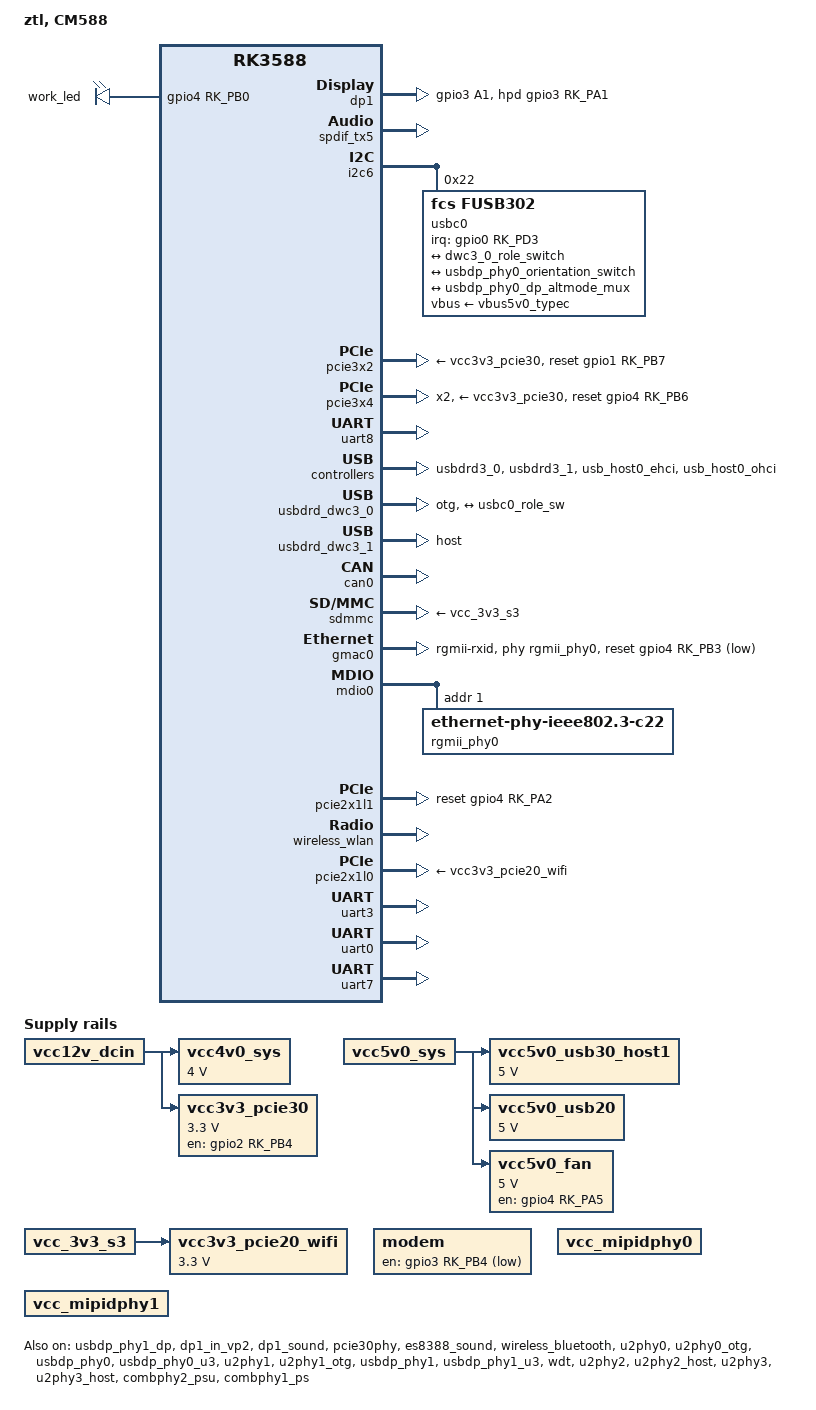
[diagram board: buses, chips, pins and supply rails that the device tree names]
// SPDX-License-Identifier: (GPL-2.0+ OR MIT)
/*
 * Copyright (c) 2023 Rockchip Electronics Co., Ltd.
 *
 */

/dts-v1/;

#include "rk3588-evb7-v11.dtsi"
//#include "rk3588-evb7-v11-imx415.dtsi"
#include "rk3588-linux.dtsi"

#define		ZTL_BOARD_RK3588_CM

/ {
	model = "ztl, CM588";
	compatible = "rockchip,rk3588-evb7-v11", "rockchip,rk3588";

	/*
	 * Serial consoles (5.10 variant).
	 *
	 * rk3588-linux.dtsi sets only "console=ttyFIQ0" (UART2 fiq-debugger,
	 * 1500000 8N1). This board does NOT wire UART2 out - the only reachable
	 * debug port is UART3/TTL (uart3m1: TX GPIO3_B5 / RX GPIO3_B6).
	 *
	 * Order matters: /dev/console follows the LAST console= argument, so
	 * ttyS3 is listed last to make it /dev/console (systemd's getty
	 * generator then spawns a shell on it). earlycon points at uart3's
	 * register base 0xfeb60000, NOT 0xfeb50000 (= uart2).
	 *
	 * IMPORTANT: this chosen/bootargs is only a fallback. Rockchip u-boot
	 * builds its own env "bootargs" (androidboot.fwver=... etc.) in
	 * board_fdt_chosen_bootargs(), and fdt_chosen() REPLACES this property
	 * wholesale - dropping every console= so the kernel gets no console at
	 * all. u-boot is patched to append the console= list; keep both in sync.
	 *
	 * NOTE: &gmac1 must stay disabled - gmac1_tx_bus2/gmac1_clkinout mux
	 * GPIO3_B5/GPIO3_B6, i.e. exactly the uart3 pins, and enabling gmac1
	 * makes ttyS3 completely silent.
	 */
	chosen {
		bootargs = "earlycon=uart8250,mmio32,0xfeb60000 console=ttyFIQ0 console=ttyS3,115200 irqchip.gicv3_pseudo_nmi=0 root=PARTUUID=614e0000-0000 rw rootwait rcupdate.rcu_expedited=1 rcu_nocbs=all";
	};

	vcc4v0_sys: vcc4v0-sys {
		compatible = "regulator-fixed";
		regulator-name = "vcc4v0_sys";
		regulator-always-on;
		regulator-boot-on;
		regulator-min-microvolt = <4000000>;
		regulator-max-microvolt = <4000000>;
		vin-supply = <&vcc12v_dcin>;
	};

	vcc5v0_usb30_host1: vcc5v0-usb30 {
		compatible = "regulator-fixed";
		regulator-name = "vcc5v0_usb30_host1";
		regulator-min-microvolt = <5000000>;
		regulator-max-microvolt = <5000000>;
		vin-supply = <&vcc5v0_sys>;
		regulator-boot-on;
        regulator-always-on;
	};

	vcc5v0_usb20: vcc5v0-usb20 {
		compatible = "regulator-fixed";
		regulator-name = "vcc5v0_usb20";
		regulator-min-microvolt = <5000000>;
		regulator-max-microvolt = <5000000>;
		vin-supply = <&vcc5v0_sys>;
        regulator-boot-on;
        regulator-always-on;
	};

	vcc5v0_fan: vcc5v0-fan {
		compatible = "regulator-fixed";
		regulator-name = "vcc5v0_fan";
		regulator-min-microvolt = <5000000>;
		regulator-max-microvolt = <5000000>;
		vin-supply = <&vcc5v0_sys>;
		regulator-boot-on;
		regulator-always-on;
        enable-active-high;
        gpio = <&gpio4 RK_PA5 GPIO_ACTIVE_HIGH>;
        pinctrl-names = "default";
        pinctrl-0 = <&vcc5v0_fan_en>;
	};

	vcc3v3_pcie20_wifi: vcc3v3-pcie20-wifi {
		compatible = "regulator-fixed";
		regulator-name = "vcc3v3_wifi";
		regulator-min-microvolt = <3300000>;
		regulator-max-microvolt = <3300000>;
		pinctrl-names = "default";
		pinctrl-0 = <&wifi_poweren_gpio>;
		startup-delay-us = <5000>;
		vin-supply = <&vcc_3v3_s3>;
	};

	vcc3v3_pcie30: vcc3v3-pcie30 {
		compatible = "regulator-fixed";
		regulator-name = "vcc3v3_pcie30";
		regulator-min-microvolt = <3300000>;
		regulator-max-microvolt = <3300000>;
		vin-supply = <&vcc12v_dcin>;
		enable-active-high;
		gpio = <&gpio2 RK_PB4 GPIO_ACTIVE_HIGH>;
	};

	modem: modem {
		compatible = "regulator-fixed";
		regulator-name = "modem";
		gpio = <&gpio3 RK_PB4 GPIO_ACTIVE_LOW>;
		regulator-boot-on;
		regulator-always-on;
	};

	vcc_mipidphy0: vcc-mipidcphy0-regulator {
		compatible = "regulator-fixed";
		regulator-name = "vcc_mipidphy0";
		enable-active-high;
	};

	vcc_mipidphy1: vcc-mipidcphy1-regulator {
		compatible = "regulator-fixed";
		regulator-name = "vcc_mipidphy1";
		enable-active-high;
	};
};

&display_subsystem {
	clocks = <&hdptxphy_hdmi_clk0>, <&hdptxphy_hdmi_clk1>;
	clock-names = "hdmi0_phy_pll", "hdmi1_phy_pll";
};

//cm588 dp part, use dp convert to vga
&dp1 {
	pinctrl-0 = <&dp1_hpd>;
	hpd-gpios = <&gpio3 RK_PA1 GPIO_ACTIVE_HIGH>;
	status = "okay";
};

&usbdp_phy1_dp {
	status = "okay";
};

&dp1_in_vp0 {
	status = "disabled";
};

&dp1_in_vp1 {
	status = "disabled";
};

&dp1_in_vp2 {
	status = "okay";
};

//if open route_dp1, test screen will show blurred screen
&route_dp1 {
	status = "disabled";
	connect = <&vp2_out_dp1>;
};

&spdif_tx5 {
	status = "okay";
};

&dp1_sound {
	status = "okay";
};

&i2c6 {
	usbc0: fusb302@22 {
		compatible = "fcs,fusb302";
		reg = <0x22>;
		interrupt-parent = <&gpio0>;
		interrupts = <RK_PD3 IRQ_TYPE_LEVEL_LOW>;
		pinctrl-names = "default";
		pinctrl-0 = <&usbc0_int>;
		vbus-supply = <&vbus5v0_typec>;
		status = "okay";

		ports {
			#address-cells = <1>;
			#size-cells = <0>;

			port@0 {
				reg = <0>;
				usbc0_role_sw: endpoint@0 {
					remote-endpoint = <&dwc3_0_role_switch>;
				};
			};
		};

		usb_con: connector {
			compatible = "usb-c-connector";
			label = "USB-C";
			data-role = "dual";
			power-role = "dual";
			try-power-role = "sink";
			op-sink-microwatt = <1000000>;
			sink-pdos =
				<PDO_FIXED(5000, 1000, PDO_FIXED_USB_COMM)>;
			source-pdos =
				<PDO_FIXED(5000, 3000, PDO_FIXED_USB_COMM)>;

			altmodes {
				#address-cells = <1>;
				#size-cells = <0>;

				altmode@0 {
					reg = <0>;
					svid = <0xff01>;
					vdo = <0xffffffff>;
				};
			};

			ports {
				#address-cells = <1>;
				#size-cells = <0>;

				port@0 {
					reg = <0>;
					usbc0_orien_sw: endpoint {
						remote-endpoint = <&usbdp_phy0_orientation_switch>;
					};
				};

				port@1 {
					reg = <1>;
					dp_altmode_mux: endpoint {
						remote-endpoint = <&usbdp_phy0_dp_altmode_mux>;
					};
				};
			};
		};
	};

	/delete-node/ husb311@4e;
};

/* two m.2 port */
&pcie30phy {
    rockchip,pcie30-phymode = <PHY_MODE_PCIE_NANBNB>;
    status = "okay";
};

&pcie3x2 {
    reset-gpios = <&gpio1 RK_PB7 GPIO_ACTIVE_HIGH>;
    vpcie3v3-supply = <&vcc3v3_pcie30>;
    status = "okay";
};

&pcie3x4 {
    num-lanes = <2>;
    reset-gpios = <&gpio4 RK_PB6 GPIO_ACTIVE_HIGH>;
    vpcie3v3-supply = <&vcc3v3_pcie30>;
    status = "okay";
	/delete-property/ pinctrl-names;
	/delete-property/ pinctrl-0;
};

&vcc3v3_pcie30 {
	gpios = <&gpio2 RK_PB4 GPIO_ACTIVE_HIGH>;
};

//cm588 sound part
&es8388_sound {
	status = "okay";
	hp-det-gpio = <&gpio1 RK_PD5 GPIO_ACTIVE_HIGH>;
	spk-con-gpio = <&gpio1 RK_PD3 GPIO_ACTIVE_HIGH>;
	hp-con-gpio = <&gpio1 RK_PD2 GPIO_ACTIVE_HIGH>;
};

//cm588 hdmi in
&hdmirx_ctrler {
	hdmirx-det-gpios = <&gpio2 RK_PB5 GPIO_ACTIVE_LOW>;
};

&hdmirx_det {
	rockchip,pins = <2 RK_PB5 RK_FUNC_GPIO &pcfg_pull_up>;
};

//cm588 bluetooth
&uart8 {
	status = "okay";
	pinctrl-names = "default";
	pinctrl-0 = <&uart8m1_xfer &uart8m1_ctsn>;
};

&wireless_bluetooth {
	status = "okay";
	uart_rts_gpios = <&gpio3 RK_PA4 GPIO_ACTIVE_LOW>;
	pinctrl-0 = <&uart8m1_rtsn>, <&bt_reset_gpio>, <&bt_wake_gpio>, <&bt_irq_gpio>;
	pinctrl-1 = <&uart8_gpios>;
};

//type-c usb3.0 otg
&vbus5v0_typec {
	vin-supply = <&avdd_1v2_s0>;
	/delete-property/ enable-active-high;
	/delete-property/ gpio;
	/delete-property/ pinctrl-names;
	/delete-property/ pinctrl-0;
};

&usbc0_int{
	rockchip,pins = <0 RK_PD3 RK_FUNC_GPIO &pcfg_pull_up>;
};

&usbdrd3_0 {
	status = "okay";
};

&usbdrd_dwc3_0 {
	dr_mode = "otg";
	usb-role-switch;
	status = "okay";

	port {
		#address-cells = <1>;
		#size-cells = <0>;
		dwc3_0_role_switch: endpoint@0 {
			reg = <0>;
			remote-endpoint = <&usbc0_role_sw>;
		};
	};
};

&u2phy0 {
	status = "okay";
};

&u2phy0_otg {
	status = "okay";
	rockchip,typec-vbus-det;
};

&usbdp_phy0 {
	orientation-switch;
	svid = <0xff01>;
	sbu1-dc-gpios = <&gpio4 RK_PA6 GPIO_ACTIVE_HIGH>;
	sbu2-dc-gpios = <&gpio4 RK_PA7 GPIO_ACTIVE_HIGH>;
	status = "okay";

	port {
		#address-cells = <1>;
		#size-cells = <0>;
		usbdp_phy0_orientation_switch: endpoint@0 {
			reg = <0>;
			remote-endpoint = <&usbc0_orien_sw>;
		};

		usbdp_phy0_dp_altmode_mux: endpoint@1 {
			reg = <1>;
			remote-endpoint = <&dp_altmode_mux>;
		};
	};
};

&usbdp_phy0_u3 {
    status = "okay";
};

&usbdp_phy0_dp {
    status = "disabled";
};

/* type a usb3.0 port */
&usbdrd3_1 {
	status = "okay";
};

&usbdrd_dwc3_1 {
	dr_mode = "host";
	status = "okay";
};

&u2phy1 {
	status = "okay";
};

&u2phy1_otg {
	status = "okay";
	phy-supply = <&vcc5v0_usb30_host1>;
};

&usbdp_phy1 {
	status = "okay";
	rockchip,dp-lane-mux = <2 3>;
};

&usbdp_phy1_u3 {
	status = "okay";
};

//cm588 soft wdt
&wdt {
	status = "okay";
};

/* cm588 can */
&can0 {
	status = "okay";
};

/* usb 2.0 hub, four usb 2.0 port use this hub*/
&usb_host0_ehci {
	status = "okay";
};

&usb_host0_ohci {
	status = "okay";
};

&u2phy2 {
	status = "okay";
};

&u2phy2_host {
	status = "okay";
	phy-supply = <&vcc5v0_usb20>;
};

//mini pcie usb
&u2phy3 {
    status = "okay";
};

&u2phy3_host {
    status = "okay";
    phy-supply = <&vcc5v0_usb20>;
};

//cm588 sdmmc
&sdmmc {
	vmmc-supply = <&vcc_3v3_s3>;
};

/* Two ethernet */
&gmac0 {
	/* Use rgmii-rxid mode to disable rx delay inside Soc */
	phy-mode = "rgmii-rxid";
	clock_in_out = "output";

	snps,reset-gpio = <&gpio4 RK_PB3 GPIO_ACTIVE_LOW>;
	snps,reset-active-low;
	/* Reset time is 20ms, 100ms for rtl8211f */
	snps,reset-delays-us = <0 20000 100000>;

	pinctrl-names = "default";
	pinctrl-0 = <&gmac0_miim
		     &gmac0_tx_bus2
		     &gmac0_rx_bus2
		     &gmac0_rgmii_clk
		     &gmac0_rgmii_bus
		     &eth0_pins>;

	tx_delay = <0x44>;
	/* rx_delay = <0x4f>; */

	phy-handle = <&rgmii_phy0>;
	status = "okay";
};

&mdio0 {
	rgmii_phy0: phy@1 {
		compatible = "ethernet-phy-ieee802.3-c22";
		reg = <0x1>;
		clocks = <&cru REFCLKO25M_ETH0_OUT>;
	};
};

&pcie2x1l1 {
    reset-gpios = <&gpio4 RK_PA2 GPIO_ACTIVE_HIGH>;
	status = "okay";
};

&combphy2_psu {
    status = "okay";
};

/* pcie wifi ap6275p */
&wireless_wlan {
	wifi_chip_type = "ap6275p";
	pinctrl-0 = <&wifi_host_wake_irq>;
};

&pcie2x1l0 {
	rockchip,skip-scan-in-resume;
	rockchip,perst-inactive-ms = <500>;
	vpcie3v3-supply = <&vcc3v3_pcie20_wifi>;
};

&combphy1_ps {
    status = "okay";
};

//cm588 power supply part
&vdd_npu_s0 {
	vin-supply = <&vcc4v0_sys>;
};

&vdd_cpu_big0_s0 {
	vin-supply = <&vcc4v0_sys>;
};

&vdd_cpu_big1_s0 {
	vin-supply = <&vcc4v0_sys>;
};

&vcc_1v8_s0 {
	/delete-property/ regulator-state-mem;
	regulator-state-mem {
		regulator-on-in-suspend;
		regulator-suspend-microvolt = <1800000>;
	};
};

&vcc_3v3_s0 {
    /delete-property/ regulator-state-mem;
    regulator-state-mem {
        regulator-on-in-suspend;
        regulator-suspend-microvolt = <3300000>;
	};
};

&rk806single {
	vcc1-supply = <&vcc4v0_sys>;
	vcc2-supply = <&vcc4v0_sys>;
	vcc3-supply = <&vcc4v0_sys>;
	vcc4-supply = <&vcc4v0_sys>;
	vcc5-supply = <&vcc4v0_sys>;
	vcc6-supply = <&vcc4v0_sys>;
	vcc7-supply = <&vcc4v0_sys>;
	vcc8-supply = <&vcc4v0_sys>;
	vcc9-supply = <&vcc4v0_sys>;
	vcc10-supply = <&vcc4v0_sys>;
	vcc11-supply = <&vcc_2v0_pldo_s3>;
	vcc12-supply = <&vcc4v0_sys>;
	vcc13-supply = <&vcc_1v1_nldo_s3>;
	vcc14-supply = <&vcc_1v1_nldo_s3>;
	vcca-supply = <&vcc4v0_sys>;
};

/* */
&work_led {
	gpios = <&gpio4 RK_PB0 GPIO_ACTIVE_HIGH>;
};

/* cm588 ttl/232/485 part */
&uart3 {
	status = "okay";
};

&uart0 {
	status = "okay";
	pinctrl-0 = <&uart0m2_xfer>;
};

&uart7 {
	status = "okay";
};

//debug uart
&uart2 {
	pinctrl-0 = <&uart2m0_xfer>;
};

&pinctrl {
	dp {
		dp1_hpd: dp1-hpd {
			rockchip,pins = <3 RK_PA1 RK_FUNC_GPIO &pcfg_pull_down>;
		};
	};

	fan {
		vcc5v0_fan_en: vcc5v0-fan-en {
			rockchip,pins = <4 RK_PA5 RK_FUNC_GPIO &pcfg_pull_down>;
		};
	};

	wifi {
		wifi_poweren_gpio: wifi-poweren-gpio {
			rockchip,pins = <0 RK_PC4 RK_FUNC_GPIO &pcfg_pull_up>;
		};
	};

	bluetooth {
		uart8_gpios: uart8-gpios {
			rockchip,pins = <3 RK_PA4 RK_FUNC_GPIO &pcfg_pull_none>;
		};
	};
};

&dsi0 {
    status = "disabled";
};

&dsi0_panel {
	status = "disabled";
};

&mipi_dcphy0 {
    status = "disabled";
};

&dsi0_in_vp2 {
    status = "disabled";
};

&dsi0_in_vp3 {
    status = "disabled";
};

&route_dsi0 {
    status = "disabled";
};

&dsi1 {
    status = "disabled";
};

&dsi1_panel {
	status = "disabled";
};

&mipi_dcphy1 {
    status = "disabled";
};

&dsi1_in_vp2 {
    status = "disabled";
};

&dsi1_in_vp3 {
    status = "disabled";
};

&route_dsi1 {
    status = "disabled";
};

&vcc3v3_lcd_n {
	status = "disabled";
};

&gt1x {
	status = "disabled";
};

&vcc_mipicsi0 {
	status = "disabled";
};

&vcc_mipicsi1 {
	status = "disabled";
};

//cm588 unuseful node, please put under here
&vcc5v0_host {
	status = "disabled";
};

&vcc_3v3_sd_s0 {
	status = "disabled";
};

&gmac1 {
	status = "disabled";
};

//cm588 dp part, use dp convert to vga
&dp0 {
	status = "disabled";
};

&usbdp_phy0_dp {
	status = "disabled";
};

&dp0_in_vp0 {
	status = "disabled";
};

&dp0_in_vp1 {
	status = "disabled";
};

&dp0_in_vp2 {
	status = "disabled";
};

&route_dp0 {
	status = "disabled";
};

&spdif_tx2 {
	status = "disabled";
};

&dp0_sound {
	status = "disabled";
};

&sdio {
	status = "disabled";
};

&sdio_pwrseq {
	status = "disabled";
};

&uart9 {
	status = "disabled";
};

&wireless_wlan {
	/delete-property/ WIFI,poweren_gpio;
};

&i2c4 {
    status = "disabled";
};
